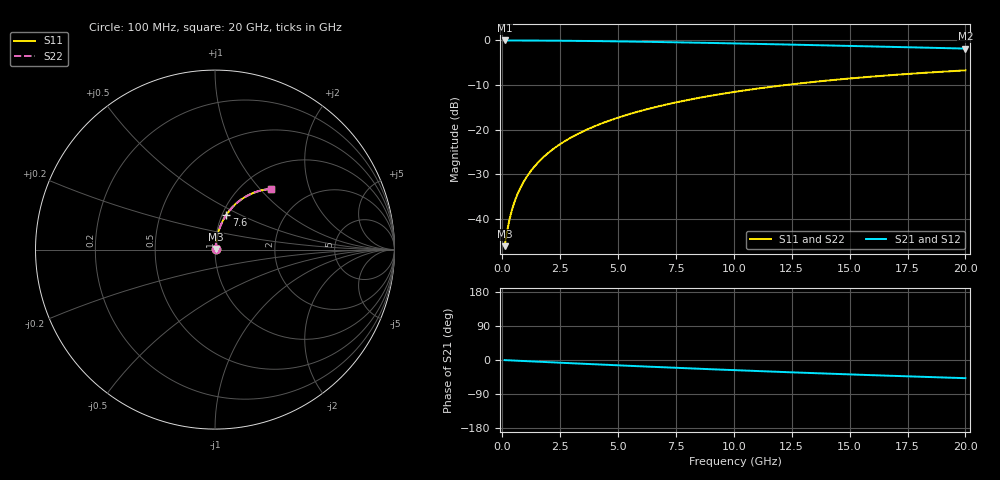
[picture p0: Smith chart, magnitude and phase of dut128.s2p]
! Touchstone file exported from HFSS 2024.1.0
!  File:  C:/UserFiles/LocalFiles/RDL_TSV_Batchsim/temp_RDL_bottom_128_1778696328.aedt
!  Generated:  02:21:27 AM May 14, 2026
!  Design:  RDL_bottom
!  Project:  temp_RDL_bottom_128_1778696328
!  Setup:  Setup1
!  Solution:  Sweep
! Variables:
!  dtsv = 10.80580581um
!  hbump = 3um
!  htsv = 84.28um
!  ldown = 684.9um
!  lrdl = 100um
!  p = 40
!  p1 = 44.85um
!  rhole = 1um
!  t = 450um
!  tdown = 4.15um
!  trdl = 3.915915916um
!  wdown = 14.79um
!  wrdl = 20um
# GHz S MA R 50.000000
! Terminal data exported
! Port[1] = RDL1_T1
! Port[2] = RDL1_T2
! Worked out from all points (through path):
!   200 points, 100 MHz to 20 GHz, reference 50 ohm
!   highest |S21| = -0.04 dB at 100 MHz (marker M1); lowest = -1.9 dB at 20 GHz (marker M2)
!   group delay of S21, straight-line fit = 6.65 ps
!   lowest |S11| = -46.0 dB at 100 MHz (marker M3), VSWR 1.01, Z = 50.4 + j0.294 ohm
!   |S11| at or under -10 dB: start of sweep to 12.24 GHz
!   |S22| runs from -46.0 to -6.7 dB; largest |S21 - S12| = 1.8e-14
!   S11 on the Smith chart (normalised r, x): 100 MHz: 1.01, +0.01; 7.6 GHz: 1.05, +0.43; 20 GHz: 1.34, +1.15
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0.1  0.004985 35.9  0.996 -0.3  0.996 -0.3  0.004985 35.9
! Gamma 0 0 0 0
! Port Impedance 50 0 50 0
0.2  0.00714 54.2  0.9958 -0.6  0.9958 -0.6  0.00714 54.2
0.3  0.009636 63.1  0.9957 -0.9  0.9957 -0.9  0.009636 63.1
0.4  0.01223 68.2  0.9955 -1.2  0.9955 -1.2  0.01223 68.2
0.5  0.01486 71.5  0.9953 -1.5  0.9953 -1.5  0.01486 71.5
0.6  0.01751 73.7  0.9951 -1.8  0.9951 -1.8  0.01751 73.7
0.8  0.02285 76.6  0.9947 -2.3  0.9947 -2.3  0.02285 76.6
1.1  0.03093 78.9  0.9941 -3.2  0.9941 -3.2  0.03093 78.9
1.5  0.04179 80.2  0.993 -4.3  0.993 -4.3  0.04179 80.2
1.8  0.04996 80.6  0.9921 -5.2  0.9921 -5.2  0.04996 80.6
2.1  0.05813 80.6  0.9909 -6.0  0.9909 -6.0  0.05813 80.7
2.7  0.07447 80.3  0.9882 -7.7  0.9882 -7.7  0.07447 80.3
3.5  0.09618 79.4  0.9836 -10.0  0.9836 -10.0  0.09618 79.4
4.2  0.1151 78.3  0.9789 -11.9  0.9789 -11.9  0.1151 78.3
5  0.1365 76.9  0.9728 -14.1  0.9728 -14.1  0.1365 76.9
5.9  0.1604 75.3  0.9652 -16.5  0.9652 -16.5  0.1604 75.3
6.8  0.1839 73.5  0.9568 -18.8  0.9568 -18.8  0.184 73.5
7.6  0.2046 71.9  0.9489 -20.9  0.9489 -20.9  0.2046 71.9
10.1  0.2667 66.7  0.9222 -27.0  0.9222 -27.0  0.2667 66.7
13.4  0.3414 59.9  0.8842 -34.6  0.8842 -34.6  0.3414 59.9
16.7  0.4062 53.3  0.8456 -41.5  0.8456 -41.5  0.4063 53.3
20  0.4609 47.2  0.808 -47.9  0.808 -47.9  0.4609 47.2
